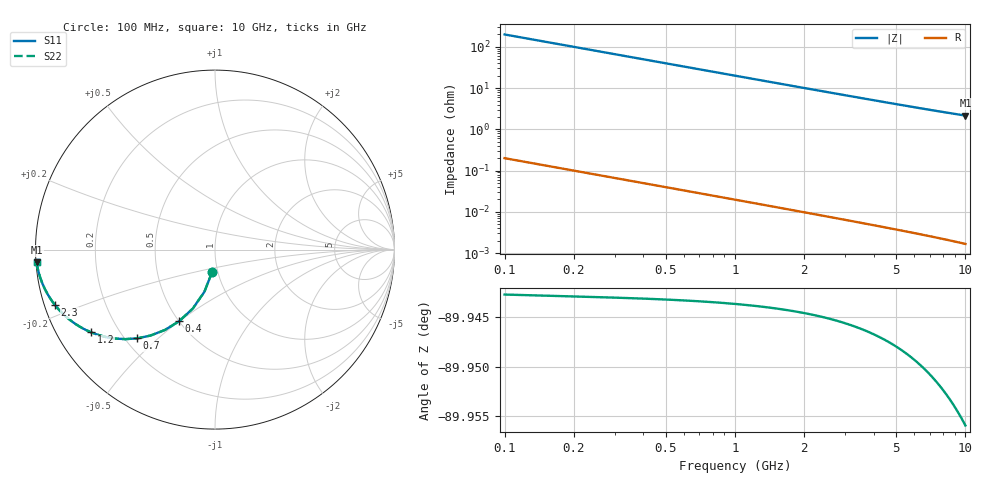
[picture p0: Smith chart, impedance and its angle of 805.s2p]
# Hz S RI R 50.00
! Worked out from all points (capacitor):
!   100 points, 100 MHz to 10 GHz, reference 50 ohm
!   read as one part in shunt: C = 7.95 pF near 100 MHz
!   lowest |Z| = 2.16 ohm at 10 GHz (marker M1)
!   S11 on the Smith chart (normalised r, x): 100 MHz: 0.94, -0.23; 400 MHz: 0.50, -0.50; 700 MHz: 0.25, -0.43; 1.2 GHz: 0.10, -0.30; 2.3 GHz: 0.03, -0.17; 10 GHz: 0.00, -0.04
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1e8  -0.0155 -0.1229  0.9845 -0.123  0.9845 -0.123  -0.0155 -0.1229
2e8  -0.0589 -0.2349  0.941 -0.2352  0.941 -0.2352  -0.0589 -0.2349
3e8  -0.1233 -0.3281  0.8766 -0.3286  0.8766 -0.3286  -0.1233 -0.3281
4e8  -0.1999 -0.3992  0.8 -0.3998  0.8 -0.3998  -0.1999 -0.3992
5e8  -0.2807 -0.4485  0.7193 -0.4492  0.7193 -0.4492  -0.2807 -0.4485
6e8  -0.3596 -0.4789  0.6403 -0.4798  0.6403 -0.4798  -0.3596 -0.4789
7e8  -0.4331 -0.4945  0.5669 -0.4955  0.5669 -0.4955  -0.4331 -0.4945
9e8  -0.5579 -0.4955  0.4421 -0.4968  0.4421 -0.4968  -0.5579 -0.4955
1e9  -0.6089 -0.4867  0.391 -0.4882  0.391 -0.4882  -0.6089 -0.4867
1.2e9  -0.6914 -0.4605  0.3086 -0.4623  0.3086 -0.4623  -0.6914 -0.4605
1.3e9  -0.7244 -0.4453  0.2756 -0.4473  0.2756 -0.4473  -0.7244 -0.4453
1.5e9  -0.7776 -0.4142  0.2223 -0.4164  0.2223 -0.4164  -0.7776 -0.4142
1.8e9  -0.8342 -0.37  0.1658 -0.3727  0.1658 -0.3727  -0.8342 -0.37
2e9  -0.8613 -0.3437  0.1387 -0.3467  0.1387 -0.3467  -0.8613 -0.3437
2.3e9  -0.8913 -0.309  0.1086 -0.3124  0.1086 -0.3124  -0.8913 -0.309
2.8e9  -0.9239 -0.2625  0.076 -0.2667  0.076 -0.2667  -0.9239 -0.2625
3.4e9  -0.9471 -0.2208  0.0529 -0.2259  0.0529 -0.2259  -0.9471 -0.2208
4.2e9  -0.9647 -0.1808  0.0353 -0.1872  0.0353 -0.1872  -0.9647 -0.1808
5.1e9  -0.9758 -0.1492  0.0242 -0.157  0.0242 -0.157  -0.9758 -0.1492
6.7e9  -0.9859 -0.1121  0.014 -0.1225  0.014 -0.1225  -0.9859 -0.1121
8.4e9  -0.991 -0.0868  0.00884 -0.1  0.00884 -0.1  -0.991 -0.0868
1e10  -0.9937 -0.07  0.00612 -0.0859  0.00612 -0.0859  -0.9937 -0.07
